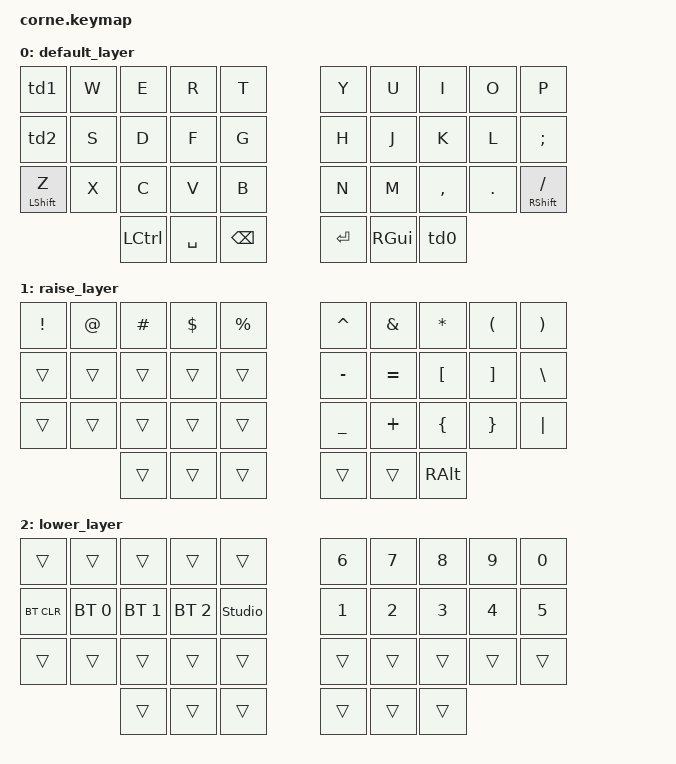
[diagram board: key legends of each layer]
/*
 * Copyright (c) 2020 The ZMK Contributors
 *
 * SPDX-License-Identifier: MIT
 */

#include <behaviors.dtsi>
#include <dt-bindings/zmk/bt.h>
#include <dt-bindings/zmk/ext_power.h>
#include <dt-bindings/zmk/keys.h>
#include <dt-bindings/zmk/outputs.h>

/ {
        behaviors {
                td0: tap_dance_0{
                    compatible = "zmk,behavior-tap-dance";
                    #binding-cells = <0>;
                    tapping-term-ms = <200>;
                    bindings = <&mo 2>, <&mo 1>;
                };
                td1: tap_dance_1 {
                    compatible = "zmk,behavior-tap-dance";
                    #binding-cells = <0>;
                    tapping-term-ms = <200>;
                    bindings = <&kp Q>, <&kp ESC>;
                };
                td2: tap_dance_2 {
                    compatible = "zmk,behavior-tap-dance";
                    #binding-cells = <0>;
                    tapping-term-ms = <200>;
                    bindings = <&kp A>, <&kp TAB>;
                };
        };

        keymap {
                compatible = "zmk,keymap";

                default_layer {
// -----------------------------------------------------------------------------------------
// |  TAB |  Q  |  W  |  E  |  R  |  T  |   |  Y  |  U   |  I  |  O  |  P  | BSPC |
// | CTRL |  A  |  S  |  D  |  F  |  G  |   |  H  |  J   |  K  |  L  |  ;  |  '   |
// | SHFT |  Z  |  X  |  C  |  V  |  B  |   |  N  |  M   |  ,  |  .  |  /  | ESC  |
//                    | GUI | LWR | SPC |   | ENT | RSE  | ALT |
                        bindings = <
   &td1      &kp W   &kp E   &kp R   &kp T           &kp Y &kp U  &kp I     &kp O   &kp P    
   &td2      &kp S   &kp D   &kp F   &kp G           &kp H &kp J  &kp K     &kp L   &kp SEMI
   &mt LSHFT Z &kp X   &kp C   &kp V   &kp B         &kp N &kp M  &kp COMMA &kp DOT &mt RSHFT SLASH
                        &kp LCTRL &kp SPACE &kp BSPC  &kp RET &kp RGUI &td0
                        >;
                };
                raise_layer {
// -----------------------------------------------------------------------------------------
// |  TAB |  !  |  @  |  #  |  $  |  %  |   |  ^  |  &  |  *  |  (  |  )  | BSPC |
// | CTRL |     |     |     |     |     |   |  -  |  =  |  [  |  ]  |  \  |  `   |
// | SHFT |     |     |     |     |     |   |  _  |  +  |  {  |  }  | "|" |  ~   |
//                    | GUI |     | SPC |   | ENT |     | ALT |
                        bindings = <
   &kp EXCL &kp AT &kp HASH &kp DLLR &kp PRCNT          &kp CARET &kp AMPS  &kp ASTRK &kp LPAR &kp RPAR
   &trans   &trans &trans   &trans   &trans             &kp MINUS &kp EQUAL &kp LBKT  &kp RBKT &kp BSLH
   &trans   &trans &trans   &trans   &trans             &kp UNDER &kp PLUS  &kp LBRC  &kp RBRC &kp PIPE
                   &trans   &trans   &trans              &trans    &trans    &kp RALT
                        >;
                };
                lower_layer {
// -----------------------------------------------------------------------------------------
// |  TAB |  1  |  2  |  3  |  4  |  5  |   |  6  |  7  |  8  |  9  |  0  | BSPC |
// | BTCLR| BT1 | BT2 | BT3 | BT4 | BT5 |   | LFT | DWN |  UP | RGT |     |      |
// | SHFT |     |     |     |     |     |   |     |     |     |     |     |      |
//                    | GUI |     | SPC |   | ENT |     | ALT |
                        bindings = <
   &trans       &trans       &trans       &trans       &trans         &kp N6   &kp N7   &kp N8 &kp N9   &kp N0 
   &bt BT_CLR   &bt BT_SEL 0 &bt BT_SEL 1 &bt BT_SEL 2 &studio_unlock &kp N1   &kp N2   &kp N3 &kp N4   &kp N5
   &trans       &trans       &trans       &trans       &trans         &trans   &trans   &trans &trans   &trans
                             &trans       &trans       &trans         &trans   &trans   &trans
                        >;
                };
        };

        /* Select the transform for the keyboard */
        chosen {
                zmk,physical-layout = &foostan_corne_5col_layout;
        };
};
